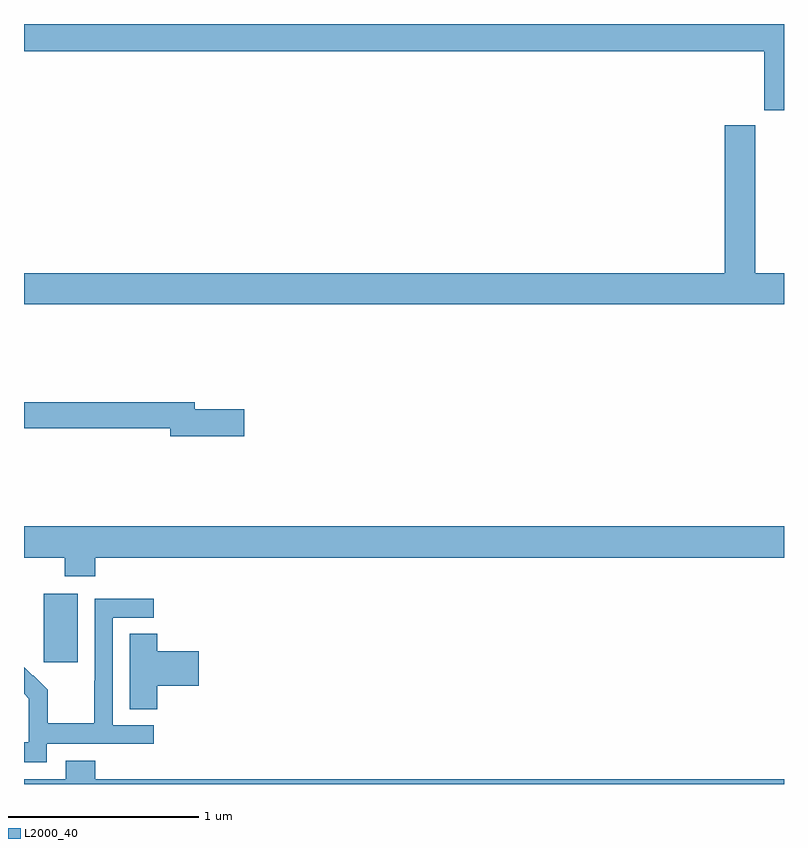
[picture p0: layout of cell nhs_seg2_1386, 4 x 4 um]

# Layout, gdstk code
import gdstk
lib = gdstk.Library(unit=1e-6, precision=1e-09)
def R(c, l, rs):  # rectangles x0, y0, x1, y1
    for r in rs: c.add(gdstk.rectangle(r[:2], r[2:], *l))
def P(c, l, *ps):  # polygons
    for p in ps: c.add(gdstk.Polygon(p, *l))
L2000_40 = (2000, 40)

nhs_seg2_1386 = lib.new_cell('nhs_seg2_1386')
R(nhs_seg2_1386, L2000_40, [(183.104,624.441,183.283,624.802)])
P(nhs_seg2_1386, L2000_40, [(187,627.8),(183,627.8),(183,627.656),(186.896,627.656),(186.896,627.347),(187,627.347)],
  [(187,626.488),(186.849,626.488),(186.849,627.268),(186.689,627.268),(186.689,626.488),(183,626.488),(183,626.324),(187,626.324)],
  [(184.159,625.772),(183.898,625.772),(183.898,625.808),(183,625.808),(183,625.672),(183.77,625.672),(183.77,625.63),(184.159,625.63)],
  [(183.374,624.992),(187,624.992),(187,625.156),(183,625.156),(183,624.992),(183.214,624.992),(183.214,624.893),(183.374,624.893)],
  [(183.12,624.012),(183.682,624.012),(183.682,624.108),(183.468,624.108),(183.468,624.675),(183.682,624.675),(183.682,624.774),(183.372,624.774),(183.372,624.344),(183.37,624.344),(183.37,624.121),(183.125,624.121),(183.125,624.295),(183.048,624.372),(183.045,624.369),(183,624.415),(183,624.276),(183.026,624.25),(183.026,624.153),(183.024,624.153),(183.024,624.019),(183,624.019),(183,623.915),(183.12,623.915)],
  [(183.701,624.317),(183.919,624.317),(183.919,624.5),(183.701,624.5),(183.701,624.59),(183.557,624.59),(183.557,624.193),(183.701,624.193)],
  [(187,623.824),(183.374,623.824),(183.374,623.923),(183.221,623.923),(183.221,623.824),(183,623.824),(183,623.8),(187,623.8)])

lib.write_gds('nhs_seg2_1386.gds')
